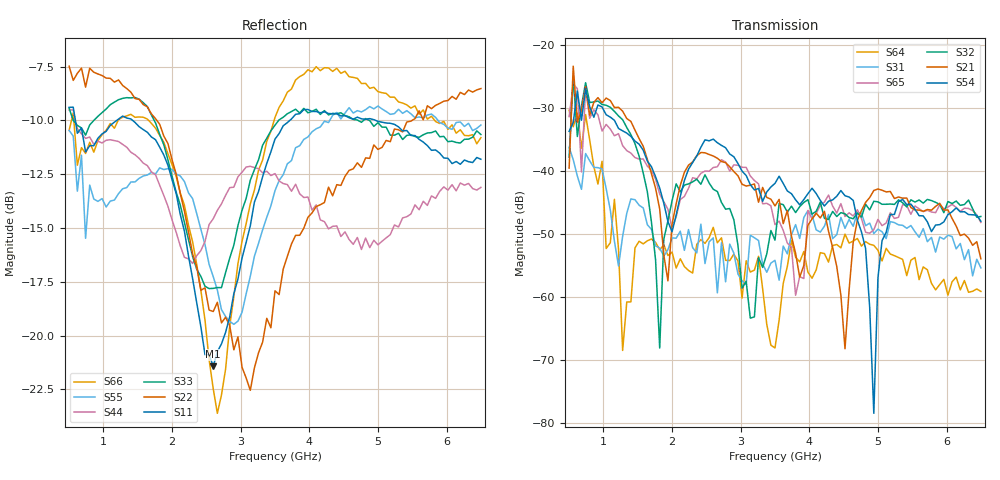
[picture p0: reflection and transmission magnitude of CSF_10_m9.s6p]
!Keysight Technologies,M9804A,MY58100912,A.14.10.03
!Date: Thursday, April 27, 2023 10:28:33
!Correction: S11(C  6-Port  )
!S12(C  6-Port  )
!S13(C  6-Port  )
!S14(C  6-Port  )
!S15(C  6-Port  )
!S16(C  6-Port  )
!S21(C  6-Port  )
!S22(C  6-Port  )
!S23(C  6-Port  )
!S24(C  6-Port  )
!S25(C  6-Port  )
!S26(C  6-Port  )
!S31(C  6-Port  )
!S32(C  6-Port  )
!S33(C  6-Port  )
!S34(C  6-Port  )
!S35(C  6-Port  )
!S36(C  6-Port  )
!S41(C  6-Port  )
!S42(C  6-Port  )
!S43(C  6-Port  )
!S44(C  6-Port  )
!S45(C  6-Port  )
!S46(C  6-Port  )
!S51(C  6-Port  )
!S52(C  6-Port  )
!S53(C  6-Port  )
!S54(C  6-Port  )
!S55(C  6-Port  )
!S56(C  6-Port  )
!S61(C  6-Port  )
!S62(C  6-Port  )
!S63(C  6-Port  )
!S64(C  6-Port  )
!S65(C  6-Port  )
!S66(C  6-Port  )
!S6P File: Measurement: :
# Hz S  RI  R 50
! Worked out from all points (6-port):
!   101 points, 500 MHz to 6.5 GHz, reference 50 ohm
!   strongest paths, dB at 500 MHz, 2 GHz, 3.5 GHz, 5 GHz, 6.5 GHz:
!     S54: -33.7, -49.6, -41.9, -57.0, -47.9
!     S21: -39.5, -48.4, -45.5, -42.8, -53.9
!     S32: -37.8, -44.7, -50.9, -44.9, -47.2
!     S65: -31.3, -49.1, -48.5, -47.6, -48.1
!     S31: -36.2, -50.6, -54.1, -49.2, -55.3
!     S64: -30.3, -52.8, -68.1, -52.5, -59.1
!   lowest |S11| = -21.4 dB at 2.6 GHz (marker M1), VSWR 1.19, Z = 42.5 + j2.2 ohm
!   |S11| at or under -10 dB: 590.5 MHz to 1.193 GHz (602.3 MHz wide, 67.5 % of centre); 1.427 GHz to 3.715 GHz (2.288 GHz wide, 89 % of centre); 4.968 GHz to end of sweep
